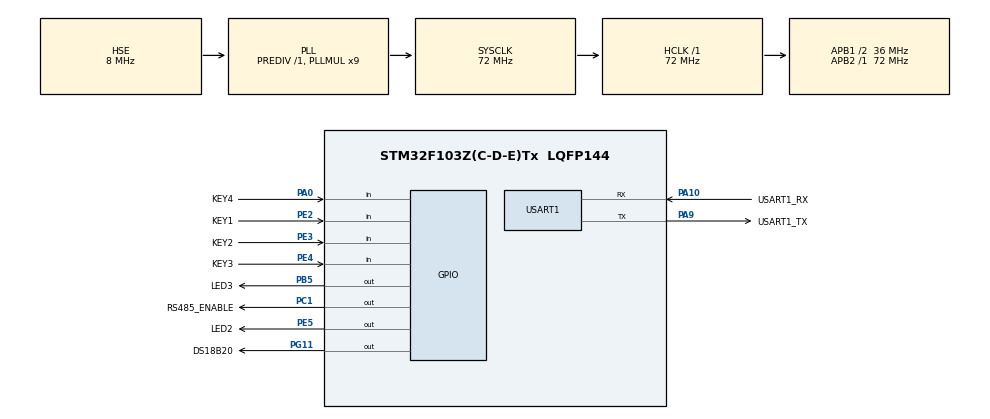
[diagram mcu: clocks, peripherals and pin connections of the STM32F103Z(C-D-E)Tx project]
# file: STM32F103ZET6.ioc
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FREERTOS.INCLUDE_eTaskGetState=1
FREERTOS.INCLUDE_pcTaskGetTaskName=1
FREERTOS.INCLUDE_uxTaskGetStackHighWaterMark=1
FREERTOS.INCLUDE_vTaskDelayUntil=1
FREERTOS.INCLUDE_xEventGroupSetBitFromISR=0
FREERTOS.INCLUDE_xQueueGetMutexHolder=1
FREERTOS.INCLUDE_xTaskAbortDelay=0
FREERTOS.INCLUDE_xTaskGetCurrentTaskHandle=1
FREERTOS.INCLUDE_xTaskGetHandle=1
FREERTOS.INCLUDE_xTimerPendFunctionCall=0
FREERTOS.Tasks01=defaultTask,0,128,StartDefaultTask,Default,NULL,Dynamic,NULL,NULL;myTask1_App,-2,128,Task1_App,Default,NULL,Dynamic,NULL,NULL;mbMasterService,2,256,ModbusRtuMasterTask,Default,NULL,Dynamic,NULL,NULL;mbMasterAPPTask,0,128,ModbusRtuMasterAPPTask,Default,NULL,Dynamic,NULL,NULL
FREERTOS.configMAX_PRIORITIES=32
FREERTOS.configUSE_STATS_FORMATTING_FUNCTIONS=1
FREERTOS.configUSE_TIMERS=0
FREERTOS.configUSE_TRACE_FACILITY=1
Mcu.Family=STM32F1
Mcu.Name=STM32F103Z(C-D-E)Tx
Mcu.Package=LQFP144
NVIC.PriorityGroup=NVIC_PRIORITYGROUP_4
NVIC.TIM2_IRQn=true\:0\:0\:false\:false\:true\:false\:false\:true
NVIC.TIM3_IRQn=true\:5\:0\:false\:false\:true\:true\:true\:true
NVIC.TimeBase=TIM2_IRQn
NVIC.TimeBaseIP=TIM2
NVIC.USART1_IRQn=true\:5\:0\:false\:false\:true\:true\:true\:true
OSC_IN.Mode=HSE-External-Oscillator
OSC_IN.Signal=RCC_OSC_IN
OSC_OUT.Mode=HSE-External-Oscillator
OSC_OUT.Signal=RCC_OSC_OUT
PA0-WKUP.GPIO_Label=KEY4
PA0-WKUP.GPIO_PuPd=GPIO_PULLDOWN
PA0-WKUP.Signal=GPIO_Input
PA10.GPIO_Label=USART1_RX
PA10.Mode=Asynchronous
PA10.Signal=USART1_RX
PA13.Mode=Serial_Wire
PA13.Signal=SYS_JTMS-SWDIO
PA14.Mode=Serial_Wire
PA14.Signal=SYS_JTCK-SWCLK
PA9.GPIO_Label=USART1_TX
PA9.Mode=Asynchronous
PA9.Signal=USART1_TX
PB5.GPIO_Label=LED3
PB5.PinState=GPIO_PIN_SET
PB5.Signal=GPIO_Output
PC1.GPIO_Label=RS485_ENABLE
PC1.GPIO_Speed=GPIO_SPEED_FREQ_HIGH
PC1.PinState=GPIO_PIN_RESET
PC1.Signal=GPIO_Output
PE2.GPIO_Label=KEY1
PE2.GPIO_PuPd=GPIO_PULLUP
PE2.Signal=GPIO_Input
PE3.GPIO_Label=KEY2
PE3.GPIO_PuPd=GPIO_PULLUP
PE3.Signal=GPIO_Input
PE4.GPIO_Label=KEY3
PE4.GPIO_PuPd=GPIO_PULLUP
PE4.Signal=GPIO_Input
PE5.GPIO_Label=LED2
PE5.PinState=GPIO_PIN_SET
PE5.Signal=GPIO_Output
PG11.GPIO_Label=DS18B20
PG11.GPIO_Speed=GPIO_SPEED_FREQ_HIGH
PG11.Signal=GPIO_Output
ProjectManager.HeapSize=0x200
ProjectManager.StackSize=0x400
ProjectManager.TargetToolchain=MDK-ARM V5.27
RCC.AHBFreq_Value=72000000
RCC.APB1CLKDivider=RCC_HCLK_DIV2
RCC.APB1Freq_Value=36000000
RCC.APB1TimFreq_Value=72000000
RCC.APB2Freq_Value=72000000
RCC.APB2TimFreq_Value=72000000
RCC.HCLKFreq_Value=72000000
RCC.PLLMUL=RCC_PLL_MUL9
RCC.PLLSourceVirtual=RCC_PLLSOURCE_HSE
RCC.SYSCLKFreq_VALUE=72000000
RCC.SYSCLKSource=RCC_SYSCLKSOURCE_PLLCLK
RCC.USBFreq_Value=72000000
TIM3.Period=10
TIM3.Prescaler=7199
USART1.VirtualMode=VM_ASYNC
VP_FREERTOS_VS_CMSIS_V1.Mode=CMSIS_V1
VP_SYS_VS_tim2.Mode=TIM2
VP_TIM3_VS_ClockSourceINT.Mode=Internal
board=custom

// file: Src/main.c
/* USER CODE BEGIN Header */
/**
  ******************************************************************************
  * @file           : main.c
  * @brief          : Main program body
  ******************************************************************************
  * @attention
  *
  * <h2><center>&copy; Copyright (c) 2019 STMicroelectronics.
  * All rights reserved.</center></h2>
  *
  * This software component is licensed by ST under BSD 3-Clause license,
  * the "License"; You may not use this file except in compliance with the
  * License. You may obtain a copy of the License at:
  *                        opensource.org/licenses/BSD-3-Clause
  *
  ******************************************************************************
  */
/* USER CODE END Header */

#include "main.h"
#include "cmsis_os.h"
#include "tim.h"
#include "usart.h"
#include "gpio.h"

void SystemClock_Config(void);
void MX_FREERTOS_Init(void);

int main(void)
{

  /* MCU Configuration--------------------------------------------------------*/

  /* Reset of all peripherals, Initializes the Flash interface and the Systick. */
  HAL_Init();

  /* Configure the system clock */
  SystemClock_Config();

  /* Initialize all configured peripherals */
  MX_GPIO_Init();
  MX_USART1_UART_Init();
  MX_TIM3_Init();

  /* Call init function for freertos objects (in freertos.c) */
  MX_FREERTOS_Init();

  /* Start scheduler */
  osKernelStart();

  /* We should never get here as control is now taken by the scheduler */

  /* Infinite loop */
  /* USER CODE BEGIN WHILE */
//  TempFlag = DS18B20_Init();

  while (1)
  {

    /* USER CODE END WHILE */

  }
}

void SystemClock_Config(void)
{
  RCC_OscInitTypeDef RCC_OscInitStruct = {0};
  RCC_ClkInitTypeDef RCC_ClkInitStruct = {0};

  /** Initializes the CPU, AHB and APB busses clocks
  */
  RCC_OscInitStruct.OscillatorType = RCC_OSCILLATORTYPE_HSE;
  RCC_OscInitStruct.HSEState = RCC_HSE_ON;
  RCC_OscInitStruct.HSEPredivValue = RCC_HSE_PREDIV_DIV1;
  RCC_OscInitStruct.HSIState = RCC_HSI_ON;
  RCC_OscInitStruct.PLL.PLLState = RCC_PLL_ON;
  RCC_OscInitStruct.PLL.PLLSource = RCC_PLLSOURCE_HSE;
  RCC_OscInitStruct.PLL.PLLMUL = RCC_PLL_MUL9;
  if (HAL_RCC_OscConfig(&RCC_OscInitStruct) != HAL_OK)
  {
    Error_Handler();
  }
  /** Initializes the CPU, AHB and APB busses clocks
  */
  RCC_ClkInitStruct.ClockType = RCC_CLOCKTYPE_HCLK|RCC_CLOCKTYPE_SYSCLK
                              |RCC_CLOCKTYPE_PCLK1|RCC_CLOCKTYPE_PCLK2;
  RCC_ClkInitStruct.SYSCLKSource = RCC_SYSCLKSOURCE_PLLCLK;
  RCC_ClkInitStruct.AHBCLKDivider = RCC_SYSCLK_DIV1;
  RCC_ClkInitStruct.APB1CLKDivider = RCC_HCLK_DIV2;
  RCC_ClkInitStruct.APB2CLKDivider = RCC_HCLK_DIV1;

  if (HAL_RCC_ClockConfig(&RCC_ClkInitStruct, FLASH_LATENCY_2) != HAL_OK)
  {
    Error_Handler();
  }
}

void HAL_TIM_PeriodElapsedCallback(TIM_HandleTypeDef *htim)
{
  if (htim->Instance == TIM2) {
    HAL_IncTick();
  }
}

void Error_Handler(void)
{
}

/************************ (C) COPYRIGHT STMicroelectronics *****END OF FILE****/

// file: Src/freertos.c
/* USER CODE BEGIN Header */
/**
  ******************************************************************************
  * File Name          : freertos.c
  * Description        : Code for freertos applications
  ******************************************************************************
  * @attention
  *
  * <h2><center>&copy; Copyright (c) 2020 STMicroelectronics.
  * All rights reserved.</center></h2>
  *
  * This software component is licensed by ST under Ultimate Liberty license
  * SLA0044, the "License"; You may not use this file except in compliance with
  * the License. You may obtain a copy of the License at:
  *                             www.st.com/SLA0044
  *
  ******************************************************************************
  */
/* USER CODE END Header */

#include "FreeRTOS.h"
#include "task.h"
#include "main.h"
#include "cmsis_os.h"

/* USER CODE BEGIN Includes */
#include "led.h"
#include "key.h"
#include <stdio.h>
#include <string.h>

#include "ModbusMaster.h"

/* USER CODE END Includes */

/* USER CODE BEGIN PM */
uint8_t KeyStatus;

/* USER CODE END PM */

osThreadId defaultTaskHandle;
osThreadId myTask1_AppHandle;
osThreadId mbMasterServiceHandle;
osThreadId mbMasterAPPTaskHandle;

void StartDefaultTask(void const * argument);
void Task1_App(void const * argument);
void ModbusRtuMasterTask(void const * argument);
void ModbusRtuMasterAPPTask(void const * argument);

void MX_FREERTOS_Init(void); /* (MISRA C 2004 rule 8.1) */

/* GetIdleTaskMemory prototype (linked to static allocation support) */
void vApplicationGetIdleTaskMemory( StaticTask_t **ppxIdleTaskTCBBuffer, StackType_t **ppxIdleTaskStackBuffer, uint32_t *pulIdleTaskStackSize );

/* USER CODE BEGIN GET_IDLE_TASK_MEMORY */
static StaticTask_t xIdleTaskTCBBuffer;
static StackType_t xIdleStack[configMINIMAL_STACK_SIZE];

void vApplicationGetIdleTaskMemory( StaticTask_t **ppxIdleTaskTCBBuffer, StackType_t **ppxIdleTaskStackBuffer, uint32_t *pulIdleTaskStackSize )
{
  *ppxIdleTaskTCBBuffer = &xIdleTaskTCBBuffer;
  *ppxIdleTaskStackBuffer = &xIdleStack[0];
  *pulIdleTaskStackSize = configMINIMAL_STACK_SIZE;
  /* place for user code */
}
/* USER CODE END GET_IDLE_TASK_MEMORY */

void MX_FREERTOS_Init(void) {
  /* USER CODE BEGIN Init */
	Led_Init();
	KeyInit();

  /* USER CODE END Init */

  /* Create the thread(s) */
  /* definition and creation of defaultTask */
  osThreadDef(defaultTask, StartDefaultTask, osPriorityNormal, 0, 128);
  defaultTaskHandle = osThreadCreate(osThread(defaultTask), NULL);

  /* definition and creation of myTask1_App */
  osThreadDef(myTask1_App, Task1_App, osPriorityLow, 0, 128);
  myTask1_AppHandle = osThreadCreate(osThread(myTask1_App), NULL);

  /* definition and creation of mbMasterService */
  osThreadDef(mbMasterService, ModbusRtuMasterTask, osPriorityHigh, 0, 256);
  mbMasterServiceHandle = osThreadCreate(osThread(mbMasterService), NULL);

  /* definition and creation of mbMasterAPPTask */
  osThreadDef(mbMasterAPPTask, ModbusRtuMasterAPPTask, osPriorityNormal, 0, 128);
  mbMasterAPPTaskHandle = osThreadCreate(osThread(mbMasterAPPTask), NULL);

}

void StartDefaultTask(void const * argument)
{
  /* USER CODE BEGIN StartDefaultTask */

  /* Infinite loop */
  for(;;)
  {

    osDelay(10);
  }
  /* USER CODE END StartDefaultTask */
}

void Task1_App(void const * argument)
{
  /* USER CODE BEGIN Task1_App */
  /* Infinite loop */
  for(;;)
  {
	  KeyStatus = ReadKeyStatus();

		HAL_GPIO_TogglePin(LED3_GPIO_Port, LED3_Pin);
    osDelay(200);
  }
  /* USER CODE END Task1_App */
}

void ModbusRtuMasterTask(void const * argument)
{
  /* USER CODE BEGIN ModbusRtuMasterTask */
	uint8_t status = 0;
	Modbus_RegMap( );
  /* Infinite loop */
  for(;;)
  {
		if( KeyStatus == OnceKeyDown )
		{
//			RS485_TX_Service( );
			modbus_rtu( );
		}
		else if( KeyStatus == ContiousKeyDown )
		{
			break;
		}

    osDelay( 50 );
  }
  /* USER CODE END ModbusRtuMasterTask */
}

void ModbusRtuMasterAPPTask(void const * argument)
{
  /* USER CODE BEGIN ModbusRtuMasterAPPTask */

  /* Infinite loop */
  for(;;)
  {

	  HAL_GPIO_TogglePin(LED2_GPIO_Port, LED2_Pin);

    osDelay(100);
  }
  /* USER CODE END ModbusRtuMasterAPPTask */
}

/************************ (C) COPYRIGHT STMicroelectronics *****END OF FILE****/
